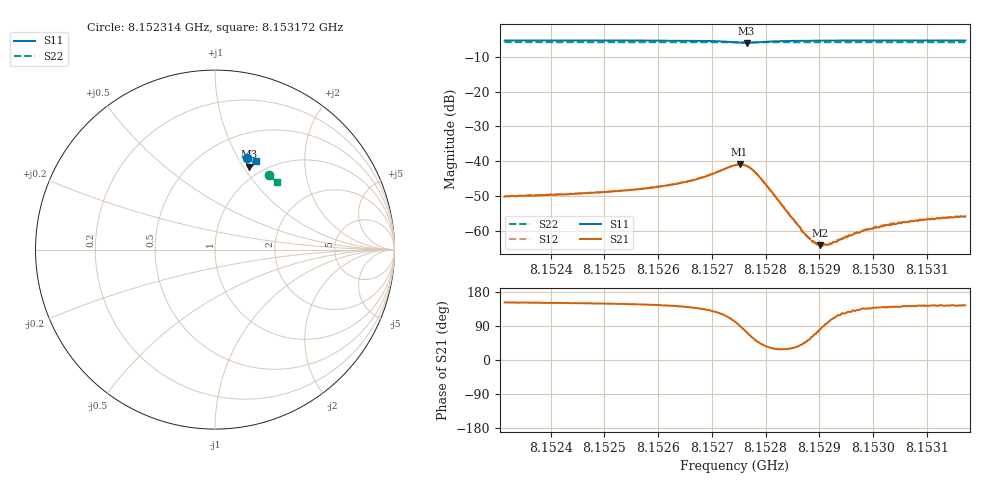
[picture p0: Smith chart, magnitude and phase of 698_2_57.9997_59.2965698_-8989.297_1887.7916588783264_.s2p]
#  HZ  S  RI  R  50.00
! Rohde & Schwarz Vector Network Analyzer
! Rohde-Schwarz,ZNB20-2Port,1311601062101988,3.16
! Created: UTC 3/21/2024, 1:21:39 AM
! freq[Hz]  re:S11  im:S11  re:S21  im:S21  re:S12  im:S12  re:S22  im:S22
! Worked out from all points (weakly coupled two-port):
!   401 points, 8.152314 GHz to 8.153172 GHz, reference 50 ohm
!   highest |S21| = -40.89 dB at 8.152752 GHz (marker M1); lowest = -64.1 dB at 8.152902 GHz (marker M2)
!   lowest |S11| = -6.0 dB at 8.152765 GHz (marker M3), VSWR 2.99, Z = 43 + j53 ohm
!   |S11| at or under -10 dB: nowhere
!   |S22| runs from -5.9 to -5.8 dB; largest |S21 - S12| = 0.0002
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8.1523143e9  0.1774 0.5105  -0.00274 0.00147  -0.00276 0.0015  0.3015 0.4131
8.152458e9  0.1883 0.5065  -0.00299 0.00174  -0.00298 0.00182  0.309 0.4074
8.1525438e9  0.1956 0.5033  -0.00323 0.00205  -0.00325 0.00215  0.3132 0.404
8.1526016e9  0.2013 0.5003  -0.00355 0.00249  -0.00354 0.00256  0.3161 0.4015
8.152636e9  0.2052 0.4976  -0.00377 0.00296  -0.00373 0.00301  0.3177 0.4
8.1526681e9  0.2092 0.4936  -0.00401 0.00366  -0.00401 0.0038  0.3193 0.3987
8.1526939e9  0.2126 0.4881  -0.00415 0.0047  -0.00413 0.0048  0.3205 0.3972
8.1527432e9  0.2074 0.4651  -0.0017 0.00862  -0.00153 0.00872  0.3225 0.3948
8.1527517e9  0.2009 0.4615  -0.000139 0.00902  7.01e-06 0.00905  0.3226 0.3943
8.1527646e9  0.1883 0.4624  0.00246 0.00826  0.0026 0.00823  0.3226 0.394
8.1527753e9  0.1801 0.4692  0.0039 0.00654  0.00399 0.00646  0.3229 0.394
8.1527882e9  0.1772 0.4794  0.00422 0.00433  0.00433 0.00425  0.3236 0.3939
8.1528718e9  0.1963 0.4989  0.000671 0.000657  0.000671 0.000659  0.3285 0.3909
8.1528868e9  0.1989 0.4991  0.00034 0.000613  0.000371 0.000662  0.3293 0.3903
8.1528911e9  0.1994 0.4991  0.000263 0.000637  0.000306 0.000613  0.3295 0.39
8.1529019e9  0.2011 0.499  9.87e-05 0.000617  8.93e-05 0.000638  0.33 0.3897
8.152919e9  0.2034 0.4987  -0.000146 0.000637  -0.000137 0.000654  0.3308 0.389
8.1529619e9  0.2083 0.4979  -0.000576 0.000668  -0.000549 0.000695  0.3329 0.387
8.1529833e9  0.2104 0.4973  -0.000742 0.000721  -0.000704 0.000729  0.334 0.3862
8.1530305e9  0.2147 0.4961  -0.000927 0.000783  -0.000966 0.000813  0.3362 0.3842
8.1530841e9  0.219 0.4946  -0.00114 0.000837  -0.00108 0.000881  0.3388 0.3818
8.153172e9  0.2257 0.4921  -0.00131 0.000947  -0.00135 0.000939  0.3429 0.3779
